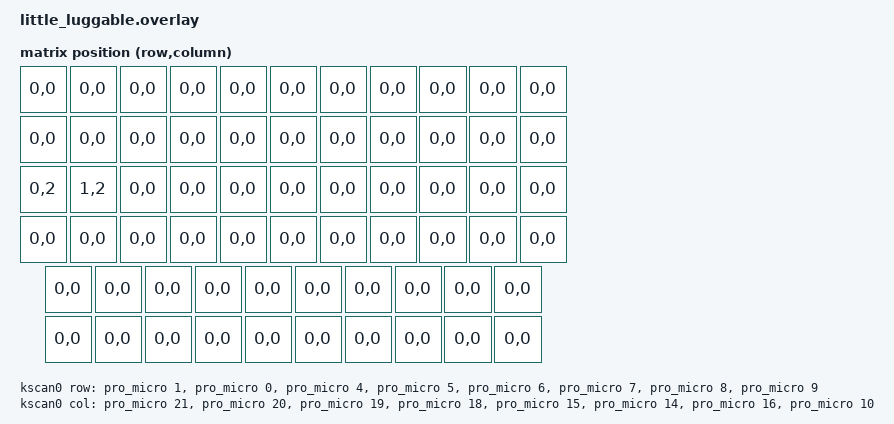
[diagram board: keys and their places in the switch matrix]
#include <dt-bindings/zmk/matrix_transform.h>

/ {
    chosen {
        zmk,kscan = &kscan0;
        zmk,matrix_transform = &default_transform;
    };

    kscan0: kscan_0 {
        compatible = "zmk,kscan-gpio-matrix";
        label = "KSCAN";
        diode-direction = "col2row";

        col-gpios
            = <&pro_micro 21 GPIO_ACTIVE_HIGH>
            , <&pro_micro 20 GPIO_ACTIVE_HIGH>
            , <&pro_micro 19 GPIO_ACTIVE_HIGH>
            , <&pro_micro 18 GPIO_ACTIVE_HIGH>
            , <&pro_micro 15 GPIO_ACTIVE_HIGH>
            , <&pro_micro 14 GPIO_ACTIVE_HIGH>
            , <&pro_micro 16 GPIO_ACTIVE_HIGH>
            , <&pro_micro 10 GPIO_ACTIVE_HIGH>
            ;

        row-gpios
            = <&pro_micro 1 (GPIO_ACTIVE_HIGH | GPIO_PULL_DOWN)>
            , <&pro_micro 0 (GPIO_ACTIVE_HIGH | GPIO_PULL_DOWN)>
            , <&pro_micro 4 (GPIO_ACTIVE_HIGH | GPIO_PULL_DOWN)>
            , <&pro_micro 5 (GPIO_ACTIVE_HIGH | GPIO_PULL_DOWN)>
            , <&pro_micro 6 (GPIO_ACTIVE_HIGH | GPIO_PULL_DOWN)>
            , <&pro_micro 7 (GPIO_ACTIVE_HIGH | GPIO_PULL_DOWN)>
            , <&pro_micro 8 (GPIO_ACTIVE_HIGH | GPIO_PULL_DOWN)>
            , <&pro_micro 9 (GPIO_ACTIVE_HIGH | GPIO_PULL_DOWN)>
            ;
    };

    default_transform: matrix_transform {
        compatible = "zmk,matrix-transform";
        columns = <11>;
        rows = <6>;
        map = <
            RC(0,0)    RC(0,0)    RC(0,0)    RC(0,0)    RC(0,0)    RC(0,0)    RC(0,0)    RC(0,0)    RC(0,0)    RC(0,0)    RC(0,0)
              RC(0,0)    RC(0,0)    RC(0,0)    RC(0,0)    RC(0,0)    RC(0,0)    RC(0,0)    RC(0,0)    RC(0,0)    RC(0,0)    RC(0,0)
            RC(0,2)    RC(1,2)    RC(0,0)    RC(0,0)    RC(0,0)    RC(0,0)    RC(0,0)    RC(0,0)    RC(0,0)    RC(0,0)    RC(0,0)
              RC(0,0)    RC(0,0)    RC(0,0)    RC(0,0)    RC(0,0)    RC(0,0)    RC(0,0)    RC(0,0)    RC(0,0)    RC(0,0)    RC(0,0)
                RC(0,0)    RC(0,0)    RC(0,0)    RC(0,0)    RC(0,0)    RC(0,0)    RC(0,0)    RC(0,0)    RC(0,0)    RC(0,0)
            RC(0,0)    RC(0,0)    RC(0,0)    RC(0,0)    RC(0,0)    RC(0,0)    RC(0,0)    RC(0,0)    RC(0,0)    RC(0,0)
        >;
    };

};
